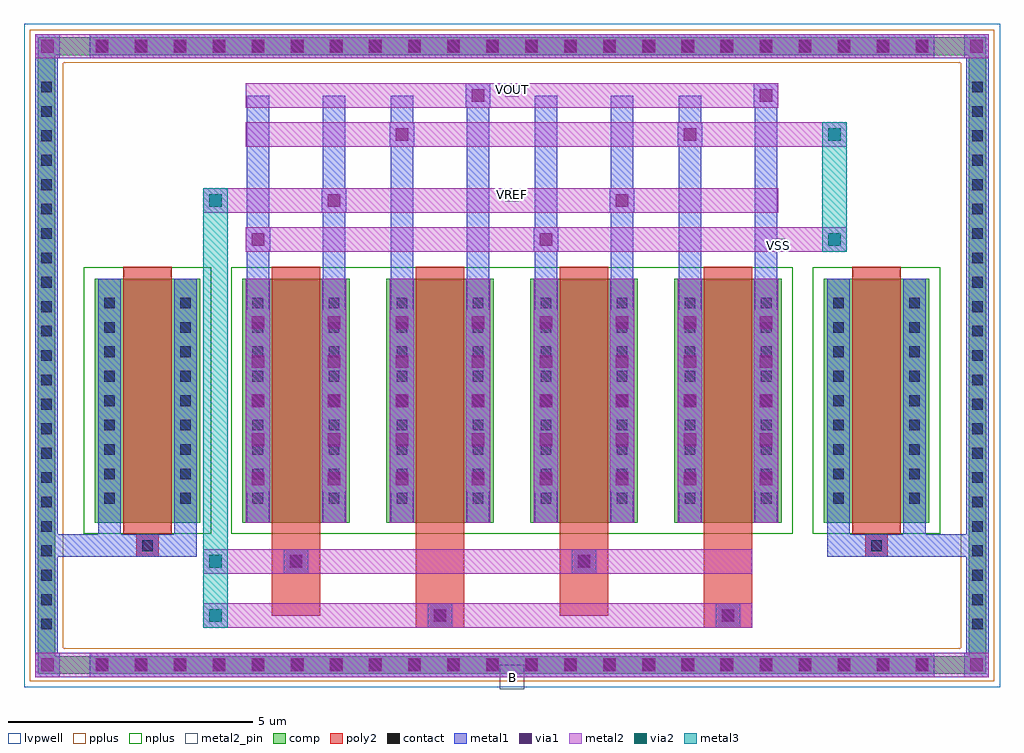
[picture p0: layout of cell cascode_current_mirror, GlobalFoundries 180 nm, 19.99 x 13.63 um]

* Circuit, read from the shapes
.subckt cascode_current_mirror B VOUT VREF VSS
XM1 B B B B nfet_03v3 w=5u l=1u m=2
XM2 VREF VREF VSS B nfet_03v3 w=5u l=1u m=2
XM3 VOUT VREF VSS B nfet_03v3 w=5u l=1u m=2
.ends

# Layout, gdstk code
import gdstk
lib = gdstk.Library(unit=1e-6, precision=5e-09)
def R(c, l, rs):  # rectangles x0, y0, x1, y1
    for r in rs: c.add(gdstk.rectangle(r[:2], r[2:], *l))
def A(c, l, x, y, w, h, nx, ny, dx, dy):  # array of equal rectangles
    R(c, l, [(x+i*dx, y+j*dy, x+i*dx+w, y+j*dy+h) for i in range(nx) for j in range(ny)])
def P(c, l, *ps):  # polygons
    for p in ps: c.add(gdstk.Polygon(p, *l))
comp = (22, 0)
poly2 = (30, 0)
pplus = (31, 0)
nplus = (32, 0)
contact = (33, 0)
metal1 = (34, 0)
via1 = (35, 0)
metal2 = (36, 0)
metal2_pin = (36, 10)
via2 = (38, 0)
metal3 = (42, 0)
lvpwell = (204, 0)

cascode_current_mirror = lib.new_cell('cascode_current_mirror')
A(cascode_current_mirror, comp, -8.58, -6.515, 0.36, 0.36, 22, 2, 0.8, 12.67)
A(cascode_current_mirror, comp, -9.715, -5.68, 0.36, 0.36, 1, 23, 0, 0.5)
A(cascode_current_mirror, comp, 9.355, -5.68, 0.36, 0.36, 1, 23, 0, 0.5)
A(cascode_current_mirror, comp, -5.525, -3.425, 2.2, 5, 4, 1, 2.95, 0)
R(cascode_current_mirror, comp, [(-8.58,-6.515,8.58,-6.155), (-9.715,-5.68,-9.355,5.68), (9.355,-5.68,9.715,5.68), (-8.545,-3.425,-6.385,1.575), (6.385,-3.425,8.545,1.575), (-8.58,6.155,8.58,6.515)])
P(cascode_current_mirror, comp, [(9.715,6.515),(-9.715,6.515),(-9.715,-6.155),(-9.355,-6.155),(-9.355,6.155),(9.355,6.155),(9.355,-6.155),(-9.355,-6.155),(-9.715,-6.155),(-9.715,-6.515),(9.715,-6.515)])
A(cascode_current_mirror, poly2, -4.925, -3.665, 1, 5.48, 4, 1, 2.95, 0)
R(cascode_current_mirror, poly2, [(-1.975,-5.575,-0.975,-5.075), (3.925,-5.575,4.925,-5.075), (-1.655,-5.505,-1.295,-5.145), (4.245,-5.505,4.605,-5.145), (-4.925,-5.325,-3.925,-3.665), (0.975,-5.325,1.975,-3.665), (-1.975,-5.075,-0.975,-3.665), (3.925,-5.075,4.925,-3.665), (-4.925,-4.465,-3.925,-3.965), (0.975,-4.465,1.975,-3.965), (-4.605,-4.395,-4.245,-4.035), (1.295,-4.395,1.655,-4.035), (-7.695,-4.125,-7.235,-3.665), (7.235,-4.125,7.695,-3.665), (-7.645,-4.075,-7.285,-3.715), (7.285,-4.075,7.645,-3.715), (-4.925,-3.965,-3.925,-3.665), (0.975,-3.965,1.975,-3.665), (-7.965,-3.665,-6.965,1.815), (6.965,-3.665,7.965,1.815)])
P(cascode_current_mirror, pplus, [(9.875,6.675),(-9.875,6.675),(-9.875,-5.995),(-9.195,-5.995),(-9.195,5.995),(9.195,5.995),(9.195,-5.995),(-9.195,-5.995),(-9.875,-5.995),(-9.875,-6.675),(9.875,-6.675)])
A(cascode_current_mirror, nplus, -5.755, -3.655, 2.66, 5.46, 4, 1, 2.95, 0)
R(cascode_current_mirror, nplus, [(-8.775,-3.655,-6.155,1.805), (-5.755,-3.655,5.755,1.805), (6.155,-3.655,8.775,1.805)])
A(cascode_current_mirror, contact, -8.51, -6.445, 0.22, 0.22, 22, 2, 0.8, 12.67)
A(cascode_current_mirror, contact, -9.645, -5.61, 0.22, 0.22, 1, 23, 0, 0.5)
A(cascode_current_mirror, contact, 9.425, -5.61, 0.22, 0.22, 1, 23, 0, 0.5)
A(cascode_current_mirror, contact, -8.355, -3.035, 0.22, 0.22, 1, 9, 0, 0.5)
A(cascode_current_mirror, contact, -6.795, -3.035, 0.22, 0.22, 1, 9, 0, 0.5)
A(cascode_current_mirror, contact, -5.315, -3.035, 0.22, 0.22, 1, 9, 0, 0.5)
A(cascode_current_mirror, contact, -3.755, -3.035, 0.22, 0.22, 1, 9, 0, 0.5)
A(cascode_current_mirror, contact, -2.365, -3.035, 0.22, 0.22, 1, 9, 0, 0.5)
A(cascode_current_mirror, contact, -0.805, -3.035, 0.22, 0.22, 1, 9, 0, 0.5)
A(cascode_current_mirror, contact, 0.585, -3.035, 0.22, 0.22, 1, 9, 0, 0.5)
A(cascode_current_mirror, contact, 2.145, -3.035, 0.22, 0.22, 1, 9, 0, 0.5)
A(cascode_current_mirror, contact, 3.535, -3.035, 0.22, 0.22, 1, 9, 0, 0.5)
A(cascode_current_mirror, contact, 5.095, -3.035, 0.22, 0.22, 1, 9, 0, 0.5)
A(cascode_current_mirror, contact, 6.575, -3.035, 0.22, 0.22, 1, 9, 0, 0.5)
A(cascode_current_mirror, contact, 8.135, -3.035, 0.22, 0.22, 1, 9, 0, 0.5)
R(cascode_current_mirror, contact, [(-1.585,-5.435,-1.365,-5.215), (4.315,-5.435,4.535,-5.215), (-4.535,-4.325,-4.315,-4.105), (1.365,-4.325,1.585,-4.105), (-7.575,-4.005,-7.355,-3.785), (7.355,-4.005,7.575,-3.785)])
A(cascode_current_mirror, metal1, -8.65, -6.585, 0.5, 0.5, 22, 2, 0.8, 12.67)
A(cascode_current_mirror, metal1, -9.765, -5.73, 0.46, 0.46, 1, 23, 0, 0.5)
A(cascode_current_mirror, metal1, 9.305, -5.73, 0.46, 0.46, 1, 23, 0, 0.5)
A(cascode_current_mirror, metal1, -8.475, -3.155, 0.46, 0.46, 1, 9, 0, 0.5)
A(cascode_current_mirror, metal1, -6.915, -3.155, 0.46, 0.46, 1, 9, 0, 0.5)
A(cascode_current_mirror, metal1, -5.435, -3.155, 0.46, 0.46, 1, 9, 0, 0.5)
A(cascode_current_mirror, metal1, -3.875, -3.155, 0.46, 0.46, 1, 9, 0, 0.5)
A(cascode_current_mirror, metal1, -2.485, -3.155, 0.46, 0.46, 1, 9, 0, 0.5)
A(cascode_current_mirror, metal1, -0.925, -3.155, 0.46, 0.46, 1, 9, 0, 0.5)
A(cascode_current_mirror, metal1, 0.465, -3.155, 0.46, 0.46, 1, 9, 0, 0.5)
A(cascode_current_mirror, metal1, 2.025, -3.155, 0.46, 0.46, 1, 9, 0, 0.5)
A(cascode_current_mirror, metal1, 3.415, -3.155, 0.46, 0.46, 1, 9, 0, 0.5)
A(cascode_current_mirror, metal1, 4.975, -3.155, 0.46, 0.46, 1, 9, 0, 0.5)
A(cascode_current_mirror, metal1, 6.455, -3.155, 0.46, 0.46, 1, 9, 0, 0.5)
A(cascode_current_mirror, metal1, 8.015, -3.155, 0.46, 0.46, 1, 9, 0, 0.5)
A(cascode_current_mirror, metal1, -5.455, -2.775, 0.5, 0.5, 1, 5, 0, 0.8)
A(cascode_current_mirror, metal1, -3.895, -2.775, 0.5, 0.5, 1, 5, 0, 0.8)
A(cascode_current_mirror, metal1, -2.505, -2.775, 0.5, 0.5, 1, 5, 0, 0.8)
A(cascode_current_mirror, metal1, -0.945, -2.775, 0.5, 0.5, 1, 5, 0, 0.8)
A(cascode_current_mirror, metal1, 0.445, -2.775, 0.5, 0.5, 1, 5, 0, 0.8)
A(cascode_current_mirror, metal1, 2.005, -2.775, 0.5, 0.5, 1, 5, 0, 0.8)
A(cascode_current_mirror, metal1, 3.395, -2.775, 0.5, 0.5, 1, 5, 0, 0.8)
A(cascode_current_mirror, metal1, 4.955, -2.775, 0.5, 0.5, 1, 5, 0, 0.8)
R(cascode_current_mirror, metal1, [(-9.765,-6.585,-9.265,-6.085), (-9.765,-6.585,-9.265,-6.085), (-9.765,-6.585,-9.305,-6.155), (-8.65,-6.585,8.65,-6.085), (9.265,-6.585,9.765,-6.085), (9.265,-6.585,9.765,-6.085), (9.305,-6.585,9.765,-6.155), (-9.765,-6.155,-9.305,6.155), (9.305,-6.155,9.765,6.155), (-1.725,-5.575,-1.225,-5.075), (4.175,-5.575,4.675,-5.075), (-4.675,-4.465,-4.175,-3.965), (1.225,-4.465,1.725,-3.965), (-9.765,-4.125,-7.695,-3.665), (-8.475,-4.125,-7.695,-3.665), (-8.475,-4.125,-8.015,-3.425), (-7.695,-4.125,-7.235,-3.665), (-7.235,-4.125,-6.455,-3.665), (-6.915,-4.125,-6.455,-3.425), (6.455,-4.125,7.235,-3.665), (6.455,-4.125,6.915,-3.425), (7.235,-4.125,7.695,-3.665), (7.695,-4.125,8.475,-3.665), (7.695,-4.125,9.765,-3.665), (8.015,-4.125,8.475,-3.425), (-8.475,-3.425,-8.015,1.575), (-6.915,-3.425,-6.455,1.575), (-5.435,-3.425,-4.975,1.575), (-3.875,-3.425,-3.415,1.575), (-2.485,-3.425,-2.025,1.575), (-0.925,-3.425,-0.465,1.575), (0.465,-3.425,0.925,1.575), (2.025,-3.425,2.485,1.575), (3.415,-3.425,3.875,1.575), (4.975,-3.425,5.435,1.575), (6.455,-3.425,6.915,1.575), (8.015,-3.425,8.475,1.575), (-5.455,-2.775,-4.955,0.925), (-3.895,-2.775,-3.395,0.925), (-2.505,-2.775,-2.005,0.925), (-0.945,-2.775,-0.445,0.925), (0.445,-2.775,0.945,0.925), (2.005,-2.775,2.505,0.925), (3.395,-2.775,3.895,0.925), (4.955,-2.775,5.455,0.925), (-5.435,1.575,-4.975,2.625), (-5.435,1.575,-4.975,5.325), (-3.875,1.575,-3.415,3.425), (-3.875,1.575,-3.415,5.325), (-2.485,1.575,-2.025,4.775), (-2.485,1.575,-2.025,5.325), (-0.925,1.575,-0.465,5.575), (-0.925,1.575,-0.465,5.325), (0.465,1.575,0.925,2.625), (0.465,1.575,0.925,5.325), (2.025,1.575,2.485,3.425), (2.025,1.575,2.485,5.325), (3.415,1.575,3.875,4.775), (3.415,1.575,3.875,5.325), (4.975,1.575,5.435,5.575), (4.975,1.575,5.435,5.325), (-5.455,2.125,-4.955,2.625), (0.445,2.125,0.945,2.625), (-3.895,2.925,-3.395,3.425), (2.005,2.925,2.505,3.425), (-2.505,4.275,-2.005,4.775), (3.395,4.275,3.895,4.775), (-0.945,5.075,-0.445,5.575), (4.955,5.075,5.455,5.575), (-9.765,6.085,-9.265,6.585), (-9.765,6.085,-9.265,6.585), (-8.65,6.085,8.65,6.585), (9.265,6.085,9.765,6.585), (9.265,6.085,9.765,6.585), (-9.765,6.155,-9.305,6.585), (9.305,6.155,9.765,6.585)])
A(cascode_current_mirror, via1, -8.53, -6.465, 0.26, 0.26, 22, 2, 0.8, 12.67)
A(cascode_current_mirror, via1, -5.335, -2.655, 0.26, 0.26, 1, 5, 0, 0.8)
A(cascode_current_mirror, via1, -3.775, -2.655, 0.26, 0.26, 1, 5, 0, 0.8)
A(cascode_current_mirror, via1, -2.385, -2.655, 0.26, 0.26, 1, 5, 0, 0.8)
A(cascode_current_mirror, via1, -0.825, -2.655, 0.26, 0.26, 1, 5, 0, 0.8)
A(cascode_current_mirror, via1, 0.565, -2.655, 0.26, 0.26, 1, 5, 0, 0.8)
A(cascode_current_mirror, via1, 2.125, -2.655, 0.26, 0.26, 1, 5, 0, 0.8)
A(cascode_current_mirror, via1, 3.515, -2.655, 0.26, 0.26, 1, 5, 0, 0.8)
A(cascode_current_mirror, via1, 5.075, -2.655, 0.26, 0.26, 1, 5, 0, 0.8)
R(cascode_current_mirror, via1, [(-9.645,-6.465,-9.385,-6.205), (9.385,-6.465,9.645,-6.205), (-1.605,-5.455,-1.345,-5.195), (4.295,-5.455,4.555,-5.195), (-4.555,-4.345,-4.295,-4.085), (1.345,-4.345,1.605,-4.085), (-5.335,2.245,-5.075,2.505), (0.565,2.245,0.825,2.505), (-3.775,3.045,-3.515,3.305), (2.125,3.045,2.385,3.305), (-2.385,4.395,-2.125,4.655), (3.515,4.395,3.775,4.655), (-0.825,5.195,-0.565,5.455), (5.075,5.195,5.335,5.455), (-9.645,6.205,-9.385,6.465), (9.385,6.205,9.645,6.465)])
A(cascode_current_mirror, metal2, -8.65, -6.585, 0.5, 0.5, 22, 2, 0.8, 12.67)
A(cascode_current_mirror, metal2, -5.455, -2.775, 0.5, 0.5, 1, 5, 0, 0.8)
A(cascode_current_mirror, metal2, -3.895, -2.775, 0.5, 0.5, 1, 5, 0, 0.8)
A(cascode_current_mirror, metal2, -2.505, -2.775, 0.5, 0.5, 1, 5, 0, 0.8)
A(cascode_current_mirror, metal2, -0.945, -2.775, 0.5, 0.5, 1, 5, 0, 0.8)
A(cascode_current_mirror, metal2, 0.445, -2.775, 0.5, 0.5, 1, 5, 0, 0.8)
A(cascode_current_mirror, metal2, 2.005, -2.775, 0.5, 0.5, 1, 5, 0, 0.8)
A(cascode_current_mirror, metal2, 3.395, -2.775, 0.5, 0.5, 1, 5, 0, 0.8)
A(cascode_current_mirror, metal2, 4.955, -2.775, 0.5, 0.5, 1, 5, 0, 0.8)
R(cascode_current_mirror, metal2, [(-9.765,-6.585,-9.265,-6.085), (-9.765,-6.585,-9.265,-6.085), (-9.765,-6.585,-9.355,-6.085), (-9.355,-6.585,9.355,-6.085), (9.265,-6.585,9.765,-6.085), (9.265,-6.585,9.765,-6.085), (9.355,-6.585,9.765,-6.085), (-6.325,-5.575,-5.825,-5.075), (-6.325,-5.575,-4.925,-5.075), (-4.925,-5.575,4.925,-5.075), (-1.975,-5.575,-0.975,-5.075), (-1.725,-5.575,-1.225,-5.075), (3.925,-5.575,4.925,-5.075), (4.175,-5.575,4.675,-5.075), (-6.325,-4.465,-5.825,-3.965), (-6.325,-4.465,-4.925,-3.965), (-4.925,-4.465,-3.925,-3.965), (-4.925,-4.465,4.925,-3.965), (-4.675,-4.465,-4.175,-3.965), (0.975,-4.465,1.975,-3.965), (1.225,-4.465,1.725,-3.965), (-5.455,-3.425,-4.955,1.575), (-3.895,-3.425,-3.395,1.575), (-2.505,-3.425,-2.005,1.575), (-0.945,-3.425,-0.445,1.575), (0.445,-3.425,0.945,1.575), (2.005,-3.425,2.505,1.575), (3.395,-3.425,3.895,1.575), (4.955,-3.425,5.455,1.575), (-5.455,2.125,-4.955,2.625), (-5.455,2.125,-3.395,2.625), (-5.455,2.125,5.455,2.625), (0.445,2.125,0.945,2.625), (0.445,2.125,2.505,2.625), (5.455,2.125,6.855,2.625), (6.355,2.125,6.855,2.625), (-6.325,2.925,-5.825,3.425), (-6.325,2.925,-5.825,3.425), (-6.325,2.925,-5.455,3.425), (-5.455,2.925,-3.395,3.425), (-5.455,2.925,5.455,3.425), (-3.895,2.925,-3.395,3.425), (0.445,2.925,2.505,3.425), (2.005,2.925,2.505,3.425), (-5.455,4.275,5.455,4.775), (-2.505,4.275,-2.005,4.775), (-2.505,4.275,-0.445,4.775), (3.395,4.275,3.895,4.775), (3.395,4.275,5.455,4.775), (5.455,4.275,6.855,4.775), (6.355,4.275,6.855,4.775), (-5.455,5.075,5.455,5.575), (-2.505,5.075,-0.445,5.575), (-0.945,5.075,-0.445,5.575), (3.395,5.075,5.455,5.575), (4.955,5.075,5.455,5.575), (-9.765,6.085,-9.265,6.585), (-9.765,6.085,-9.265,6.585), (-9.765,6.085,-9.355,6.585), (-9.355,6.085,9.355,6.585), (9.265,6.085,9.765,6.585), (9.265,6.085,9.765,6.585), (9.355,6.085,9.765,6.585)])
R(cascode_current_mirror, metal2_pin, [(-0.25,-6.835,0.25,-6.335), (-0.25,-6.835,0.25,-6.335), (5.32,2.125,5.59,2.395), (5.32,2.125,5.59,2.395), (-0.135,3.155,0.135,3.425), (-0.135,3.155,0.135,3.425), (-0.135,5.305,0.135,5.575), (-0.135,5.305,0.135,5.575)])
R(cascode_current_mirror, via2, [(-6.205,-5.455,-5.945,-5.195), (-6.205,-4.345,-5.945,-4.085), (6.475,2.245,6.735,2.505), (-6.205,3.045,-5.945,3.305), (6.475,4.395,6.735,4.655)])
R(cascode_current_mirror, metal3, [(-6.325,-5.575,-5.825,-5.075), (-6.325,-5.575,-5.825,-5.075), (-6.325,-5.575,-5.825,-3.965), (-6.325,-4.465,-5.825,-3.965), (-6.325,-4.465,-5.825,-3.965), (-6.325,-3.965,-5.825,3.425), (6.355,2.125,6.855,2.625), (6.355,2.125,6.855,2.625), (6.355,2.125,6.855,4.775), (-6.325,2.925,-5.825,3.425), (-6.325,2.925,-5.825,3.425), (6.355,4.275,6.855,4.775), (6.355,4.275,6.855,4.775)])
P(cascode_current_mirror, metal3, [(6.855,2.125),(6.855,2.125),(6.855,2.625),(6.855,2.625)],
  [(6.855,4.275),(6.855,4.275),(6.855,4.775),(6.855,4.775)],
  [(-5.825,-5.575),(-5.825,-5.575),(-5.825,-5.075),(-5.825,-5.075)],
  [(-5.825,-4.465),(-5.825,-4.465),(-5.825,-3.965),(-5.825,-3.965)])
R(cascode_current_mirror, lvpwell, [(-9.995,-6.795,9.995,6.795), (-8.895,-5.695,8.895,5.695)])
cascode_current_mirror.add(gdstk.Label('B', (0,-6.585), layer=36, texttype=10))
cascode_current_mirror.add(gdstk.Label('VOUT', (0,5.44), layer=36, texttype=10))
cascode_current_mirror.add(gdstk.Label('VREF', (0,3.29), layer=36, texttype=10))
cascode_current_mirror.add(gdstk.Label('VSS', (5.455,2.26), layer=36, texttype=10))
cascode_current_mirror.add(gdstk.Label('VSS', (5.455,2.26), layer=36, texttype=10))
cascode_current_mirror.add(gdstk.Label('B', (0,-6.585), layer=36, texttype=10))
cascode_current_mirror.add(gdstk.Label('VOUT', (0,5.44), layer=36, texttype=10))
cascode_current_mirror.add(gdstk.Label('VREF', (0,3.29), layer=36, texttype=10))

lib.write_gds('cascode_current_mirror.gds')
